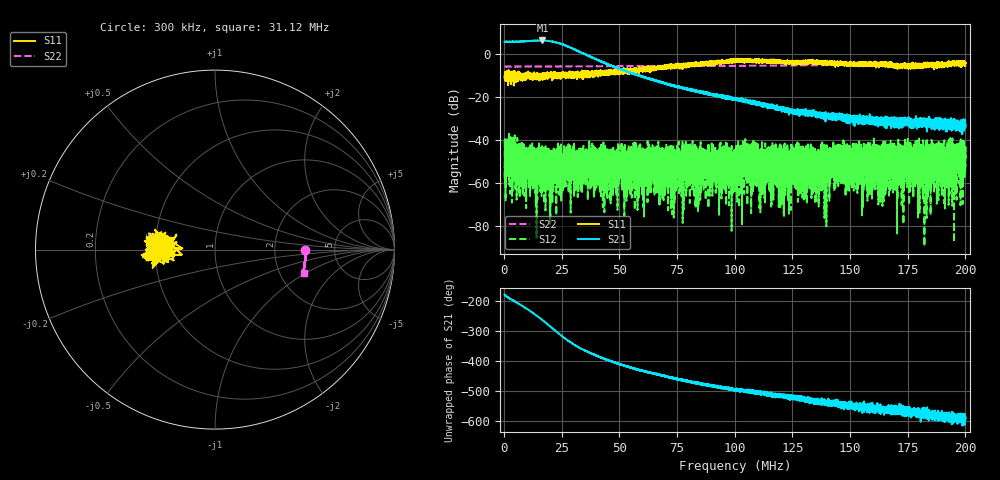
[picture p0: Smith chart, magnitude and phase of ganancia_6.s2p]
# Hz S DB R 50
! CMT, M5065, 19127446, 24.2.4/2
! Date: 10/29/2024 11:53:14 AM
! Data: Format (Calibration Info)
! Freq	S11:dB/Ang(F2)	S21:dB/Ang(F2)	S12:dB/Ang(F2)	S22:dB/Ang(F2)
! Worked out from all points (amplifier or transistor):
!   9000 points, 300 kHz to 200 MHz, reference 50 ohm
!   highest |S21| = 6.2 dB at 16.72 MHz (marker M1)
!   |S21| within 3 dB of that: start of sweep to 28.2 MHz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
!   unconditionally stable (mu >= 1): start of sweep to end of sweep
!   at 33.59 MHz: K = 111.27, MAG = 2.4 dB, |S12| = -51.3 dB
!   at 100.2 MHz: K = 2093.52, MAG = -16.3 dB, |S12| = -60.9 dB
!   at 200 MHz: K = 3405.37, MAG = -30.8 dB, |S12| = -48.7 dB
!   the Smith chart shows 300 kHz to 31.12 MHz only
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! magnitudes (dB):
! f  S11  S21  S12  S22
! 300 kHz  -11.1  5.5  -58.0  -6.0
! 1.232 MHz  -8.4  5.6  -51.6  -6.0
! 2.453 MHz  -8.6  5.5  -53.7  -6.0
! 14.84 MHz  -10.9  6.1  -50.3  -5.9
! 16.72 MHz  -10.7  6.2  -47.6  -5.9
! 33.59 MHz  -8.6  0.5  -51.3  -5.9
! 66.87 MHz  -6.1  -13.0  -55.7  -5.7
! 87.93 MHz  -4.5  -18.4  -45.3  -5.7
! 89.6 MHz  -4.9  -18.8  -46.2  -5.6
! 91.57 MHz  -4.3  -19.1  -52.0  -5.6
! 100.2 MHz  -2.7  -20.9  -60.9  -5.6
! 107.1 MHz  -3.8  -23.0  -48.2  -5.6
! 109.2 MHz  -3.2  -23.6  -43.4  -5.6
! 111.6 MHz  -3.6  -23.9  -51.0  -5.6
! 133.4 MHz  -3.5  -26.4  -58.1  -5.3
! 154.5 MHz  -4.7  -31.0  -45.5  -5.3
! 163 MHz  -4.8  -30.5  -62.5  -5.3
! 166.7 MHz  -4.2  -33.0  -47.2  -5.3
! 172.5 MHz  -6.7  -30.7  -50.0  -5.3
! 174.5 MHz  -5.2  -32.0  -56.1  -5.3
! 182.3 MHz  -5.7  -32.3  -51.1  -5.4
! 200 MHz  -5.7  -33.6  -48.7  -5.5
